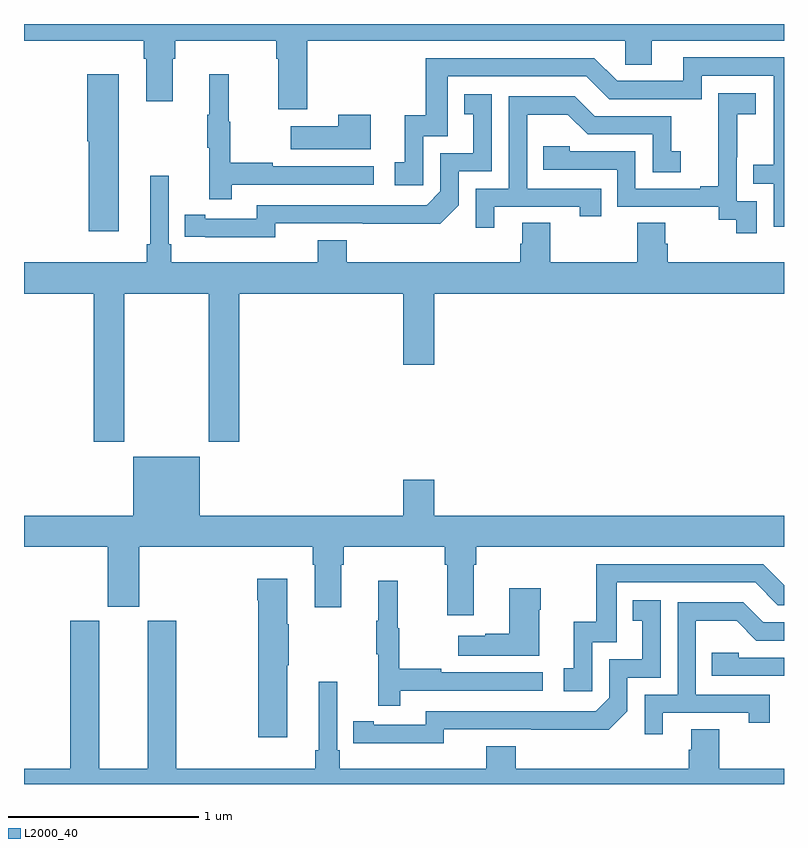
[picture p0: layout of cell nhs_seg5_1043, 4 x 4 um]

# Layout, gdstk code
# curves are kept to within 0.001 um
import gdstk
lib = gdstk.Library(unit=1e-6, precision=1e-09)
def P(c, l, *ps):  # polygons
    for p in ps: c.add(gdstk.Polygon(p, *l))
L2000_40 = (2000, 40)

nhs_seg5_1043 = lib.new_cell('nhs_seg5_1043')
P(nhs_seg5_1043, L2000_40, [(176.492,904.712),(178.164,904.712),(178.164,904.585),(178.303,904.585),(178.303,904.712),(179,904.712),(179,904.799),(175,904.799),(175,904.712),(175.631,904.712),(175.631,904.616),(175.643,904.616),(175.643,904.392),(175.783,904.392),(175.783,904.616),(175.796,904.616),(175.796,904.712),(176.327,904.712),(176.327,904.616),(176.339,904.616),(176.339,904.35),(176.492,904.35)],
  [(179,904.623),(178.469,904.623),(178.469,904.5),(178.122,904.5),(178.002,904.62),(177.115,904.62),(177.115,904.318),(177.005,904.318),(177.005,904.071),(176.952,904.071),(176.952,903.951),(177.102,903.951),(177.102,904.209),(177.231,904.209),(177.231,904.524),(177.96,904.524),(178.08,904.404),(178.566,904.404),(178.566,904.527),(178.947,904.527),(178.947,904.058),(178.837,904.058),(178.837,903.957),(178.947,903.957),(178.947,903.732),(179,903.732)],
  [(175.498,904.534),(175.334,904.534),(175.334,904.182),(175.34,904.182),(175.34,903.708),(175.498,903.708)],
  [(176.093,903.954),(176.842,903.954),(176.842,904.05),(176.309,904.05),(176.309,904.07),(176.086,904.07),(176.086,904.284),(176.078,904.284),(176.078,904.534),(175.976,904.534),(175.976,904.321),(175.965,904.321),(175.965,904.147),(175.976,904.147),(175.976,903.876),(176.093,903.876)],
  [(178.857,903.867),(178.752,903.867),(178.752,904.097),(178.754,904.097),(178.754,904.325),(178.852,904.325),(178.852,904.435),(178.654,904.435),(178.654,904.229),(178.655,904.229),(178.655,903.946),(178.559,903.946),(178.559,903.933),(178.218,903.933),(178.218,904.128),(177.873,904.128),(177.873,904.155),(177.733,904.155),(177.733,904.032),(178.122,904.032),(178.122,903.837),(178.656,903.837),(178.656,903.769),(178.749,903.769),(178.749,903.699),(178.857,903.699)],
  [(176.322,903.75),(177.19,903.749),(177.288,903.846),(177.288,904.023),(177.462,904.023),(177.462,904.429),(177.316,904.429),(177.316,904.323),(177.365,904.323),(177.365,904.119),(177.192,904.119),(177.192,903.918),(177.12,903.846),(176.226,903.846),(176.226,903.774),(175.954,903.774),(175.954,903.794),(175.846,903.794),(175.846,903.678),(176.322,903.677)],
  [(177.475,903.837),(177.926,903.837),(177.926,903.786),(178.037,903.786),(178.037,903.933),(177.648,903.933),(177.648,904.322),(177.862,904.322),(177.966,904.218),(178.308,904.218),(178.308,904.02),(178.456,904.02),(178.456,904.129),(178.407,904.129),(178.407,904.314),(178.003,904.314),(177.898,904.419),(177.552,904.419),(177.552,903.933),(177.378,903.933),(177.378,903.726),(177.475,903.726)],
  [(176.824,904.321),(176.654,904.321),(176.654,904.261),(176.405,904.261),(176.405,904.139),(176.824,904.139)],
  [(176.996,903.006),(177.16,903.006),(177.16,903.38),(179,903.38),(179,903.544),(178.388,903.544),(178.388,903.642),(178.375,903.642),(178.375,903.752),(178.228,903.752),(178.228,903.544),(177.771,903.544),(177.771,903.752),(177.623,903.752),(177.623,903.642),(177.611,903.642),(177.611,903.544),(176.699,903.544),(176.699,903.661),(176.546,903.661),(176.546,903.544),(175.775,903.544),(175.775,903.64),(175.761,903.64),(175.761,904),(175.664,904),(175.664,903.64),(175.645,903.64),(175.645,903.544),(175,903.544),(175,903.38),(175.367,903.38),(175.367,902.601),(175.527,902.601),(175.527,903.38),(175.972,903.38),(175.972,902.601),(176.132,902.601),(176.132,903.38),(176.996,903.38)],
  [(177.16,902.401),(176.996,902.401),(176.996,902.212),(175.924,902.212),(175.924,902.521),(175.574,902.521),(175.574,902.212),(175,902.212),(175,902.048),(175.442,902.048),(175.442,901.731),(175.606,901.731),(175.606,902.048),(176.519,902.048),(176.519,901.952),(176.531,901.952),(176.531,901.728),(176.671,901.728),(176.671,901.952),(176.684,901.952),(176.684,902.048),(177.215,902.048),(177.215,901.952),(177.227,901.952),(177.227,901.686),(177.367,901.686),(177.367,901.952),(177.38,901.952),(177.38,902.048),(179,902.048),(179,902.212),(177.16,902.212)],
  [(177.99,901.545),(178.119,901.545),(178.119,901.86),(178.848,901.86),(178.968,901.74),(179,901.74),(179,901.846),(178.89,901.956),(178.011,901.956),(178.011,901.654),(177.893,901.654),(177.893,901.407),(177.84,901.407),(177.84,901.287),(177.99,901.287)],
  [(176.386,901.423),(176.394,901.423),(176.394,901.64),(176.386,901.64),(176.386,901.879),(176.228,901.879),(176.228,901.766),(176.233,901.766),(176.233,901.044),(176.386,901.044)],
  [(176.981,901.29),(177.73,901.29),(177.73,901.386),(177.197,901.386),(177.197,901.406),(176.974,901.406),(176.974,901.62),(176.966,901.62),(176.966,901.87),(176.864,901.87),(176.864,901.657),(176.853,901.657),(176.853,901.483),(176.864,901.483),(176.864,901.212),(176.981,901.212)],
  [(177.712,901.715),(177.72,901.715),(177.72,901.828),(177.554,901.828),(177.554,901.589),(177.428,901.589),(177.428,901.579),(177.285,901.579),(177.285,901.475),(177.712,901.475)],
  [(177.21,901.086),(178.078,901.085),(178.176,901.182),(178.176,901.359),(178.35,901.359),(178.35,901.765),(178.204,901.765),(178.204,901.659),(178.253,901.659),(178.253,901.455),(178.08,901.455),(178.08,901.254),(178.008,901.182),(177.114,901.182),(177.114,901.11),(176.842,901.11),(176.842,901.13),(176.734,901.13),(176.734,901.014),(177.21,901.013)],
  [(178.363,901.173),(178.814,901.173),(178.814,901.122),(178.925,901.122),(178.925,901.269),(178.536,901.269),(178.536,901.658),(178.75,901.658),(178.854,901.554),(179,901.554),(179,901.65),(178.891,901.65),(178.786,901.755),(178.44,901.755),(178.44,901.269),(178.266,901.269),(178.266,901.062),(178.363,901.062)],
  [(179,900.88),(178.659,900.88),(178.659,901.088),(178.511,901.088),(178.511,900.978),(178.499,900.978),(178.499,900.88),(177.587,900.88),(177.587,900.997),(177.434,900.997),(177.434,900.88),(176.663,900.88),(176.663,900.976),(176.649,900.976),(176.649,901.336),(176.552,901.336),(176.552,900.976),(176.533,900.976),(176.533,900.88),(175.8,900.88),(175.8,901.659),(175.652,901.659),(175.652,900.88),(175.396,900.88),(175.396,901.659),(175.244,901.659),(175.244,900.88),(175,900.88),(175,900.799),(179,900.799)],
  [(179,901.464),(178.761,901.464),(178.761,901.491),(178.621,901.491),(178.621,901.368),(179,901.368)])

lib.write_gds('nhs_seg5_1043.gds')
